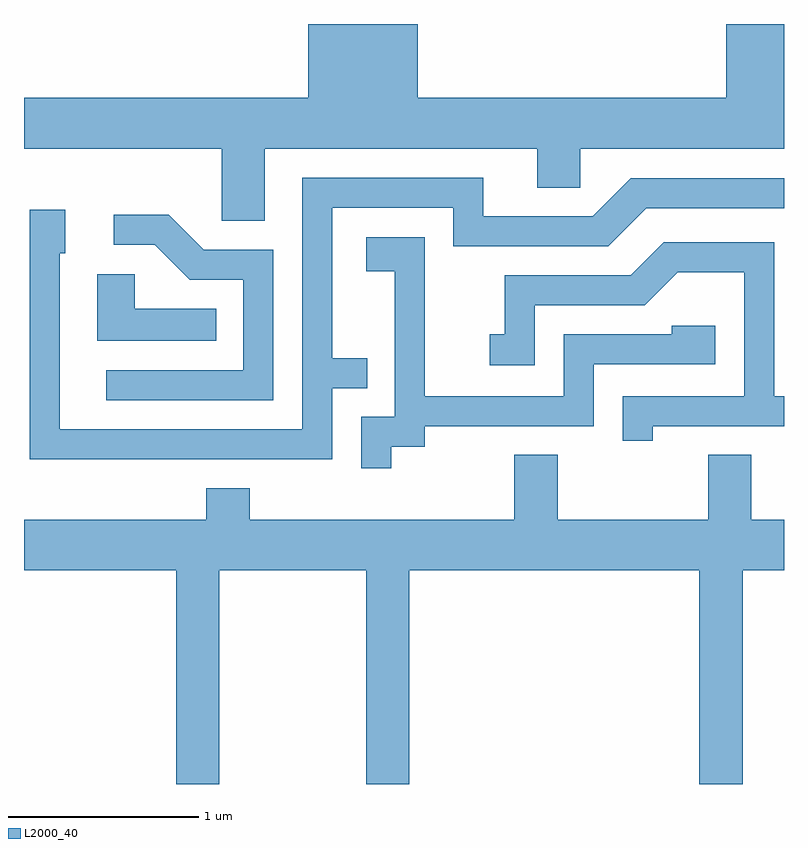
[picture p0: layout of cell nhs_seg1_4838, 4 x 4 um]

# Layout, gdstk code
import gdstk
lib = gdstk.Library(unit=1e-6, precision=1e-09)
def P(c, l, *ps):  # polygons
    for p in ps: c.add(gdstk.Polygon(p, *l))
L2000_40 = (2000, 40)

nhs_seg1_4838 = lib.new_cell('nhs_seg1_4838')
P(nhs_seg1_4838, L2000_40, [(330.879,975.056),(332.311,975.056),(332.311,974.851),(332.539,974.851),(332.539,975.056),(333.611,975.056),(333.611,975.712),(333.306,975.712),(333.306,975.324),(331.684,975.324),(331.684,975.712),(331.106,975.712),(331.106,975.324),(329.611,975.324),(329.611,975.056),(330.651,975.056),(330.651,974.676),(330.879,974.676)],
  [(331.234,973.796),(331.418,973.796),(331.418,973.954),(331.234,973.954),(331.234,974.746),(331.871,974.746),(331.871,974.541),(332.687,974.541),(332.887,974.741),(333.611,974.741),(333.611,974.899),(332.804,974.899),(332.604,974.699),(332.029,974.699),(332.029,974.904),(331.076,974.904),(331.076,973.579),(329.799,973.579),(329.799,974.506),(329.829,974.506),(329.829,974.734),(329.641,974.734),(329.641,973.421),(331.234,973.421)],
  [(330.924,974.524),(330.557,974.524),(330.372,974.709),(330.083,974.709),(330.083,974.551),(330.299,974.551),(330.484,974.366),(330.766,974.366),(330.766,973.889),(330.043,973.889),(330.043,973.731),(330.924,973.731)],
  [(331.544,973.486),(331.719,973.486),(331.719,973.596),(332.609,973.596),(332.609,973.921),(333.249,973.921),(333.249,974.124),(333.021,974.124),(333.021,974.079),(332.451,974.079),(332.451,973.754),(331.719,973.754),(331.719,974.589),(331.411,974.589),(331.411,974.411),(331.561,974.411),(331.561,973.644),(331.386,973.644),(331.386,973.373),(331.544,973.373)],
  [(332.919,973.596),(333.611,973.596),(333.611,973.754),(333.559,973.754),(333.559,974.564),(332.979,974.564),(332.804,974.389),(332.141,974.389),(332.141,974.079),(332.063,974.079),(332.063,973.916),(332.299,973.916),(332.299,974.231),(332.877,974.231),(333.052,974.406),(333.401,974.406),(333.401,973.754),(332.761,973.754),(332.761,973.518),(332.919,973.518)],
  [(330.623,974.214),(330.194,974.214),(330.194,974.394),(329.996,974.394),(329.996,974.046),(330.623,974.046)],
  [(330.639,972.836),(331.411,972.836),(331.411,971.712),(331.639,971.712),(331.639,972.836),(333.166,972.836),(333.166,971.712),(333.394,971.712),(333.394,972.836),(333.611,972.836),(333.611,973.104),(333.439,973.104),(333.439,973.444),(333.211,973.444),(333.211,973.104),(332.419,973.104),(332.419,973.444),(332.191,973.444),(332.191,973.104),(330.799,973.104),(330.799,973.269),(330.571,973.269),(330.571,973.104),(329.611,973.104),(329.611,972.836),(330.411,972.836),(330.411,971.712),(330.639,971.712)])

lib.write_gds('nhs_seg1_4838.gds')
